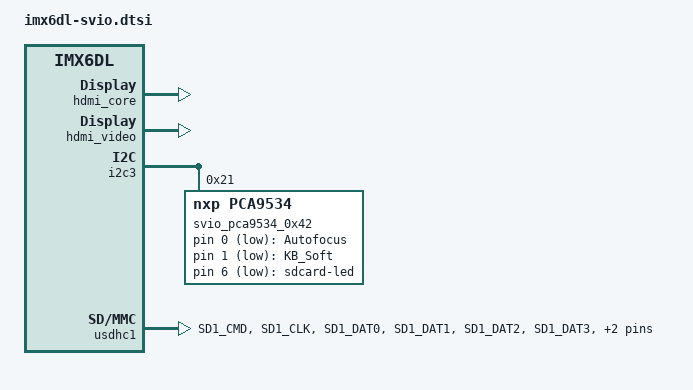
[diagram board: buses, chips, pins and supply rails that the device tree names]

/*
 * Copyright 2015 FLIR Systems.
 *
 * The code contained herein is licensed under the GNU General Public
 * License. You may obtain a copy of the GNU General Public License
 * Version 2 or later at the following locations:
 *
 * http://www.opensource.org/licenses/gpl-license.html
 * http://www.gnu.org/copyleft/gpl.html
 */

#include <dt-bindings/input/input.h>


/*This file represents svio-a and later*/

/ {
	svala-keyboard {
		compatible = "gpio-keys";

		autorepeat;
		button_autofocus {
			label = "Autofocus";
			gpio-key;
			gpios = <&svio_pca9534_0x42 0 GPIO_ACTIVE_LOW>;
			linux,code = <67>;
		};

		button_soft {
			label = "KB_Soft";
			gpio-key;
			gpios = <&svio_pca9534_0x42 1 GPIO_ACTIVE_LOW>;
			linux,code = <67>;
		};
	};

	leds { 
		compatible = "gpio-leds";
		debug-led {
			label = "sdcard-led"; //name sdcard-led used by autofs 
			//to turn-on and off when filesystem is mounted
			gpios = <&svio_pca9534_0x42 6 GPIO_ACTIVE_LOW>;
		        default-state = "off";
			linux,default-trigger = "mmc1";
		};
	};
	

	mxcfb1: fb@0 {
		compatible = "fsl,mxc_sdc_fb";
		disp_dev = "hdmi";
		interface_pix_fmt = "RGB24";
		mode_str ="640x480M@60";
		default_bpp = <32>;
		int_clk = <0>;
		late_init = <0>;
		bootlogo = <0x0 0x0>;
		status = "okay";
	};
};

&hdmi_core {
	ipu_id = <0>;
	disp_id = <0>;
	status = "okay";
};

&hdmi_video {
	/* drivers/video/mxc/mxc_hdmi.c:
	 * HDMI PHY register vlev and cksymtx preperty is optional.
	 * It is for specific board to pass HCT electrical part.
	 * Default value will been setting in HDMI PHY config function
	 * if it is not define in device tree.
	 */
//?	fsl,phy_reg_vlev = <0x0294>;
//?	fsl,phy_reg_cksymtx = <0x800d>;
	status = "okay";
};

&i2c3 {

	svio_pca9534_0x42: svio_pca9534_0x42@21 {
		//misc I/O Expander
		compatible = "nxp,pca9534";
		reg = <0x21>;
		gpio-controller;
		/* interrupt-parent = <&gpio4>; //I2C3_Alert_n */
		/* //interrupts = <7 IRQ_TYPE_LEVEL_LOW>;  //ec101-c */
		/* interrupts = <5 IRQ_TYPE_LEVEL_LOW>;    //ec101-d */
		/* interrupt-controller; */
		/* interrupts-shared; */
                /* #interrupt-cells = <2>; */
                #gpio-cells = <2>;
	};
};

&i2c4 {
	
};

/*SD-card*/
&usdhc1 {
	pinctrl-names = "default", "state_100mhz", "state_200mhz";
	pinctrl-0 = <&pinctrl_usdhc1>;
	pinctrl-1 = <&pinctrl_usdhc1_100mhz>;
	pinctrl-2 = <&pinctrl_usdhc1_200mhz>;
	cd-gpios = <&gpio6 14 GPIO_ACTIVE_HIGH>;
	wp-gpios = <&svio_pca9534_0x42 7 GPIO_ACTIVE_HIGH>;
	vqmmc-supply = <&DA9063_LDO4>;
	max-frequency = <100000000>;
	status = "okay";
};

&iomuxc{
	imx6dl-ec101 {
		pinctrl_usdhc2: usdhc2grp {

			fsl,pins = <
				MX6QDL_PAD_SD2_CMD__SD2_CMD    0x170B9
				MX6QDL_PAD_SD2_CLK__SD2_CLK    0x100B9
				MX6QDL_PAD_SD2_DAT0__SD2_DATA0 0x170B9
				MX6QDL_PAD_SD2_DAT1__SD2_DATA1 0x170B9
				MX6QDL_PAD_SD2_DAT2__SD2_DATA2 0x170B9
				MX6QDL_PAD_SD2_DAT3__SD2_DATA3 0x170B9

			>;
		};

		pinctrl_usdhc1: usdhc1grp {

			fsl,pins = <
				MX6QDL_PAD_SD1_CMD__SD1_CMD    0x17069
				MX6QDL_PAD_SD1_CLK__SD1_CLK    0x10069
				MX6QDL_PAD_SD1_DAT0__SD1_DATA0 0x17069
				MX6QDL_PAD_SD1_DAT1__SD1_DATA1 0x17069
				MX6QDL_PAD_SD1_DAT2__SD1_DATA2 0x17069
				MX6QDL_PAD_SD1_DAT3__SD1_DATA3 0x17069
			>;
		};
	
		pinctrl_usdhc1_100mhz: usdhc3grp100mhz {
			fsl,pins = <
				MX6QDL_PAD_SD1_CMD__SD1_CMD    0x170f9
				MX6QDL_PAD_SD1_CLK__SD1_CLK    0x100f9
				MX6QDL_PAD_SD1_DAT0__SD1_DATA0 0x170f9
				MX6QDL_PAD_SD1_DAT1__SD1_DATA1 0x170f9
				MX6QDL_PAD_SD1_DAT2__SD1_DATA2 0x170f9
				MX6QDL_PAD_SD1_DAT3__SD1_DATA3 0x170f9
			>;
		};

		pinctrl_usdhc1_200mhz: usdhc3grp200mhz {
			fsl,pins = <
				MX6QDL_PAD_SD1_CMD__SD1_CMD    0x170f9
				MX6QDL_PAD_SD1_CLK__SD1_CLK    0x100f9
				MX6QDL_PAD_SD1_DAT0__SD1_DATA0 0x170f9
				MX6QDL_PAD_SD1_DAT1__SD1_DATA1 0x170f9
				MX6QDL_PAD_SD1_DAT2__SD1_DATA2 0x170f9
				MX6QDL_PAD_SD1_DAT3__SD1_DATA3 0x170f9
			>;
		};
	};
};





